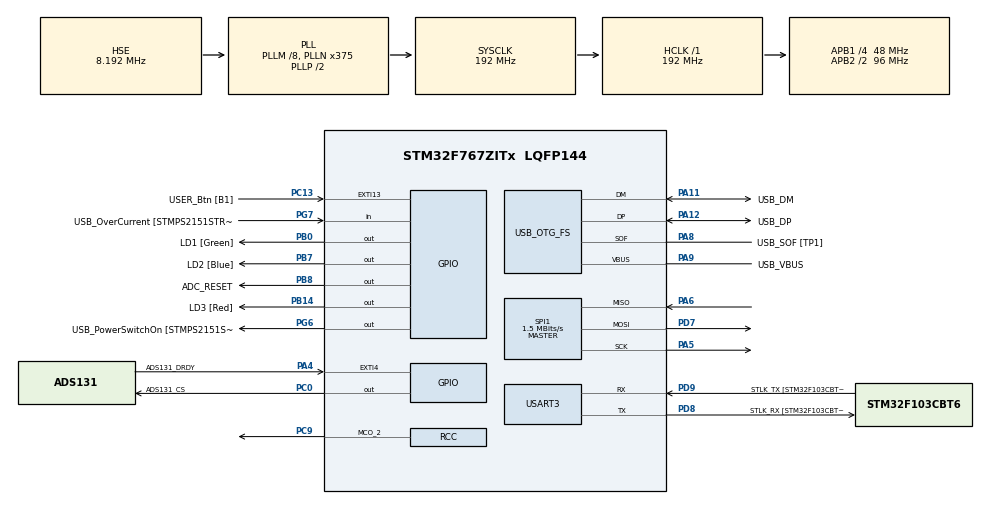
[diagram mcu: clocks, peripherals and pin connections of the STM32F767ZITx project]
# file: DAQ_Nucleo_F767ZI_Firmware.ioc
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CRC.OutputDataInversionMode=CRC_OUTPUTDATA_INVERSION_ENABLE
Dma.Request0=SPI1_RX
Dma.Request1=SPI1_TX
Dma.SPI1_RX.0.Direction=DMA_PERIPH_TO_MEMORY
Dma.SPI1_RX.0.FIFOMode=DMA_FIFOMODE_DISABLE
Dma.SPI1_RX.0.Instance=DMA2_Stream0
Dma.SPI1_RX.0.MemDataAlignment=DMA_MDATAALIGN_BYTE
Dma.SPI1_RX.0.MemInc=DMA_MINC_ENABLE
Dma.SPI1_RX.0.Mode=DMA_NORMAL
Dma.SPI1_RX.0.PeriphDataAlignment=DMA_PDATAALIGN_BYTE
Dma.SPI1_RX.0.PeriphInc=DMA_PINC_DISABLE
Dma.SPI1_RX.0.Priority=DMA_PRIORITY_VERY_HIGH
Dma.SPI1_TX.1.Direction=DMA_MEMORY_TO_PERIPH
Dma.SPI1_TX.1.FIFOMode=DMA_FIFOMODE_DISABLE
Dma.SPI1_TX.1.Instance=DMA2_Stream3
Dma.SPI1_TX.1.MemDataAlignment=DMA_MDATAALIGN_BYTE
Dma.SPI1_TX.1.MemInc=DMA_MINC_ENABLE
Dma.SPI1_TX.1.Mode=DMA_NORMAL
Dma.SPI1_TX.1.PeriphDataAlignment=DMA_PDATAALIGN_BYTE
Dma.SPI1_TX.1.PeriphInc=DMA_PINC_DISABLE
Dma.SPI1_TX.1.Priority=DMA_PRIORITY_LOW
FREERTOS.Events01=controlADCEvent,Dynamic,NULL
FREERTOS.Queues01=USBTXQueue,2,uint32_t,0,Dynamic,NULL,NULL;USBRXQueue,8,uint16_t,0,Dynamic,NULL,NULL
FREERTOS.Tasks01=defaultTask,24,256,StartDefaultTask,Default,NULL,Dynamic,NULL,NULL;usbRX,25,256,TASK_USB_RX,As external,NULL,Dynamic,NULL,NULL;usbBULKTXTASK,24,512,TASK_USB_BULK_TX,As external,NULL,Dynamic,NULL,NULL
FREERTOS.configENABLE_FPU=1
FREERTOS.configTOTAL_HEAP_SIZE=60000
FREERTOS.configUSE_NEWLIB_REENTRANT=1
Mcu.Family=STM32F7
Mcu.Name=STM32F767ZITx
Mcu.Package=LQFP144
NVIC.DMA2_Stream0_IRQn=true\:5\:0\:false\:false\:true\:true\:false\:true\:true
NVIC.DMA2_Stream3_IRQn=true\:5\:0\:false\:false\:true\:true\:false\:true\:true
NVIC.EXTI4_IRQn=true\:5\:0\:false\:false\:true\:true\:true\:true\:true
NVIC.OTG_FS_IRQn=true\:5\:0\:false\:false\:true\:true\:false\:true\:true
NVIC.PriorityGroup=NVIC_PRIORITYGROUP_4
NVIC.TIM1_UP_TIM10_IRQn=true\:15\:0\:false\:false\:true\:false\:false\:true\:true
NVIC.TimeBase=TIM1_UP_TIM10_IRQn
NVIC.TimeBaseIP=TIM1
PA1.GPIO_Label=RMII_REF_CLK [LAN8742A-CZ-TR_REFCLK0]
PA1.Signal=ETH_REF_CLK
PA10.GPIO_Label=USB_ID
PA10.Signal=USB_OTG_FS_ID
PA11.GPIO_Label=USB_DM
PA11.Mode=Device_Only
PA11.Signal=USB_OTG_FS_DM
PA12.GPIO_Label=USB_DP
PA12.Mode=Device_Only
PA12.Signal=USB_OTG_FS_DP
PA13.GPIO_Label=TMS
PA13.Mode=Serial_Wire
PA13.Signal=SYS_JTMS-SWDIO
PA14.GPIO_Label=TCK
PA14.Mode=Serial_Wire
PA14.Signal=SYS_JTCK-SWCLK
PA2.GPIO_Label=RMII_MDIO [LAN8742A-CZ-TR_MDIO]
PA2.Signal=ETH_MDIO
PA4.GPIO_Label=ADS131_DRDY
PA4.GPIO_ModeDefaultEXTI=GPIO_MODE_IT_FALLING
PA4.GPIO_PuPd=GPIO_PULLUP
PA4.Signal=GPXTI4
PA5.GPIO_PuPd=GPIO_PULLDOWN
PA5.Mode=Full_Duplex_Master
PA5.Signal=SPI1_SCK
PA6.GPIO_PuPd=GPIO_PULLUP
PA6.Mode=Full_Duplex_Master
PA6.Signal=SPI1_MISO
PA7.GPIO_Label=RMII_CRS_DV [LAN8742A-CZ-TR_CRS_DV]
PA7.Signal=ETH_CRS_DV
PA8.GPIO_Label=USB_SOF [TP1]
PA8.Mode=Activate_SOF_FS
PA8.Signal=USB_OTG_FS_SOF
PA9.GPIO_Label=USB_VBUS
PA9.Mode=Activate_VBUS
PA9.Signal=USB_OTG_FS_VBUS
PB0.GPIO_Label=LD1 [Green]
PB0.Signal=GPIO_Output
PB13.GPIO_Label=RMII_TXD1 [LAN8742A-CZ-TR_TXD1]
PB13.Signal=ETH_TXD1
PB14.GPIO_Label=LD3 [Red]
PB14.Signal=GPIO_Output
PB3.GPIO_Label=SWO
PB3.Signal=SYS_JTDO-SWO
PB7.GPIO_Label=LD2 [Blue]
PB7.Signal=GPIO_Output
PB8.GPIO_Label=ADC_RESET
PB8.GPIO_PuPd=GPIO_PULLUP
PB8.PinState=GPIO_PIN_RESET
PB8.Signal=GPIO_Output
PC0.GPIO_Label=ADS131_CS
PC0.GPIO_PuPd=GPIO_PULLUP
PC0.PinState=GPIO_PIN_SET
PC0.Signal=GPIO_Output
PC1.GPIO_Label=RMII_MDC [LAN8742A-CZ-TR_MDC]
PC1.Signal=ETH_MDC
PC13.GPIO_Label=USER_Btn [B1]
PC13.Signal=GPXTI13
PC14/OSC32_IN.Mode=LSE-External-Oscillator
PC14/OSC32_IN.Signal=RCC_OSC32_IN
PC15/OSC32_OUT.Mode=LSE-External-Oscillator
PC15/OSC32_OUT.Signal=RCC_OSC32_OUT
PC4.GPIO_Label=RMII_RXD0 [LAN8742A-CZ-TR_RXD0]
PC4.Signal=ETH_RXD0
PC5.GPIO_Label=RMII_RXD1 [LAN8742A-CZ-TR_RXD1]
PC5.Signal=ETH_RXD1
PC9.Mode=Clock-out-2
PC9.Signal=RCC_MCO_2
PD7.GPIO_PuPd=GPIO_PULLUP
PD7.Mode=Full_Duplex_Master
PD7.Signal=SPI1_MOSI
PD8.GPIO_Label=STLK_RX [STM32F103CBT6_PA3]
PD8.Mode=Asynchronous
PD8.Signal=USART3_TX
PD9.GPIO_Label=STLK_TX [STM32F103CBT6_PA2]
PD9.Mode=Asynchronous
PD9.Signal=USART3_RX
PG11.GPIO_Label=RMII_TX_EN [LAN8742A-CZ-TR_TXEN]
PG11.Signal=ETH_TX_EN
PG13.GPIO_Label=RMII_TXD0 [LAN8742A-CZ-TR_TXD0]
PG13.Signal=ETH_TXD0
PG6.GPIO_Label=USB_PowerSwitchOn [STMPS2151STR_EN]
PG6.Signal=GPIO_Output
PG7.GPIO_Label=USB_OverCurrent [STMPS2151STR_FAULT]
PG7.Signal=GPIO_Input
PH0/OSC_IN.GPIO_Label=MCO [STM32F103CBT6_PA8]
PH0/OSC_IN.Mode=HSE-External-Clock-Source
PH0/OSC_IN.Signal=RCC_OSC_IN
PH1/OSC_OUT.Mode=HSE-External-Clock-Source
PH1/OSC_OUT.Signal=RCC_OSC_OUT
ProjectManager.HeapSize=0x200
ProjectManager.StackSize=0x400
ProjectManager.TargetToolchain=STM32CubeIDE
RCC.48MHZClocksFreq_Value=24000000
RCC.AHBFreq_Value=192000000
RCC.APB1CLKDivider=RCC_HCLK_DIV4
RCC.APB1Freq_Value=48000000
RCC.APB1TimFreq_Value=96000000
RCC.APB2CLKDivider=RCC_HCLK_DIV2
RCC.APB2Freq_Value=96000000
RCC.APB2TimFreq_Value=192000000
RCC.CortexFreq_Value=192000000
RCC.HCLKFreq_Value=192000000
RCC.HSE_VALUE=8192000
RCC.HSI_VALUE=16000000
RCC.PLLM=8
RCC.PLLMUL=RCC_PLL_MUL9
RCC.PLLN=375
RCC.PLLQ=8
RCC.PRESCALERUSB=RCC_USBCLKSOURCE_PLL_DIV1_5
RCC.RCC_MCO2Source=RCC_MCO2SOURCE_HSE
RCC.SYSCLKFreq_VALUE=192000000
RCC.SYSCLKSource=RCC_SYSCLKSOURCE_PLLCLK
RCC.SYSCLKSourceVirtual=RCC_SYSCLKSOURCE_PLLCLK
RCC.USBFreq_Value=48000000
RCC.VCOOutputFreq_Value=384000000
SPI1.BaudRatePrescaler=SPI_BAUDRATEPRESCALER_64
SPI1.CLKPhase=SPI_PHASE_2EDGE
SPI1.CRCCalculation=SPI_CRCCALCULATION_DISABLE
SPI1.CalculateBaudRate=1.5 MBits/s
SPI1.DataSize=SPI_DATASIZE_8BIT
SPI1.Direction=SPI_DIRECTION_2LINES
SPI1.Mode=SPI_MODE_MASTER
SPI1.VirtualType=VM_MASTER
STMicroelectronics.X-CUBE-AZRTOS-F7.1.1.0_IsAnAzureRtosMw=true
USART3.VirtualMode-Asynchronous=VM_ASYNC
USB_DEVICE.CLASS_NAME_FS=CDC
USB_DEVICE.USBD_DEBUG_LEVEL-CDC_FS=0
USB_DEVICE.USBD_MAX_NUM_INTERFACES-CDC_FS=1
USB_DEVICE.USBD_MAX_STR_DESC_SIZ-CDC_FS=64
USB_DEVICE.VirtualMode-CDC_FS=Cdc
USB_DEVICE.VirtualModeFS=Cdc_FS
USB_OTG_FS.VirtualMode=Device_Only
USB_OTG_FS.lpm_enable=DISABLE
VP_CRC_VS_CRC.Mode=CRC_Activate
VP_FREERTOS_VS_CMSIS_V2.Mode=CMSIS_V2
VP_SYS_VS_tim1.Mode=TIM1
VP_USB_DEVICE_VS_USB_DEVICE_CDC_FS.Mode=CDC_FS
board=NUCLEO-F767ZI

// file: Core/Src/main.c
/* USER CODE BEGIN Header */
/**
  ******************************************************************************
  * @file           : main.c
  * @brief          : Main program body
  ******************************************************************************
  * @attention
  *
  * Copyright (c) 2025 STMicroelectronics.
  * All rights reserved.
  *
  * This software is licensed under terms that can be found in the LICENSE file
  * in the root directory of this software component.
  * If no LICENSE file comes with this software, it is provided AS-IS.
  *
  ******************************************************************************
  */
/* USER CODE END Header */
#include "main.h"
#include "cmsis_os.h"
#include "usb_device.h"

/* USER CODE BEGIN Includes */
#include "usbd_cdc_if.h"
#include "task_usbTX.h"
#include "ads131m04.h"
/* USER CODE END Includes */

CRC_HandleTypeDef hcrc;

SPI_HandleTypeDef hspi1;
DMA_HandleTypeDef hdma_spi1_rx;
DMA_HandleTypeDef hdma_spi1_tx;

UART_HandleTypeDef huart3;

/* Definitions for defaultTask */
osThreadId_t defaultTaskHandle;
const osThreadAttr_t defaultTask_attributes = {
  .name = "defaultTask",
  .stack_size = 256 * 4,
  .priority = (osPriority_t) osPriorityNormal,
};
/* Definitions for usbRX */
osThreadId_t usbRXHandle;
const osThreadAttr_t usbRX_attributes = {
  .name = "usbRX",
  .stack_size = 256 * 4,
  .priority = (osPriority_t) osPriorityNormal1,
};
/* Definitions for usbBULKTXTASK */
osThreadId_t usbBULKTXTASKHandle;
const osThreadAttr_t usbBULKTXTASK_attributes = {
  .name = "usbBULKTXTASK",
  .stack_size = 512 * 4,
  .priority = (osPriority_t) osPriorityNormal,
};
/* Definitions for USBTXQueue */
osMessageQueueId_t USBTXQueueHandle;
const osMessageQueueAttr_t USBTXQueue_attributes = {
  .name = "USBTXQueue"
};
/* Definitions for USBRXQueue */
osMessageQueueId_t USBRXQueueHandle;
const osMessageQueueAttr_t USBRXQueue_attributes = {
  .name = "USBRXQueue"
};
/* Definitions for controlADCEvent */
osEventFlagsId_t controlADCEventHandle;
const osEventFlagsAttr_t controlADCEvent_attributes = {
  .name = "controlADCEvent"
};
/* USER CODE BEGIN PV */
uint8_t ads131mo4_DMA_tx_buffer[20] = {0};
__attribute__((aligned(32))) uint8_t ads131mo4_DMA_rx_buffer[BUFFER_SIZE_BYTES];
volatile uint32_t rxBufferPointer = 0;
volatile uint32_t currentPacketCounter = 0;
/* USER CODE END PV */

void SystemClock_Config(void);
static void MX_GPIO_Init(void);
static void MX_DMA_Init(void);
static void MX_USART3_UART_Init(void);
static void MX_SPI1_Init(void);
static void MX_CRC_Init(void);
void StartDefaultTask(void *argument);
extern void TASK_USB_RX(void *argument);
extern void TASK_USB_BULK_TX(void *argument);

int main(void)
{

  /* MCU Configuration--------------------------------------------------------*/

  /* Reset of all peripherals, Initializes the Flash interface and the Systick. */
  HAL_Init();

  /* Configure the system clock */
  SystemClock_Config();

  /* Initialize all configured peripherals */
  MX_GPIO_Init();
  MX_DMA_Init();
  MX_USART3_UART_Init();
  MX_SPI1_Init();
  MX_CRC_Init();
  /* USER CODE BEGIN 2 */
  // Disable ADC interrupts initially
  HAL_NVIC_DisableIRQ(EXTI4_IRQn);
  ads131m04_reset_ADC();
  ads131m04_init();
  /* USER CODE END 2 */

  /* Init scheduler */
  osKernelInitialize();

  /* Create the queue(s) */
  /* creation of USBTXQueue */
  USBTXQueueHandle = osMessageQueueNew (2, sizeof(uint32_t), &USBTXQueue_attributes);

  /* creation of USBRXQueue */
  USBRXQueueHandle = osMessageQueueNew (8, sizeof(uint16_t), &USBRXQueue_attributes);

  /* Create the thread(s) */
  /* creation of defaultTask */
  defaultTaskHandle = osThreadNew(StartDefaultTask, NULL, &defaultTask_attributes);

  /* creation of usbRX */
  usbRXHandle = osThreadNew(TASK_USB_RX, NULL, &usbRX_attributes);

  /* creation of usbBULKTXTASK */
  usbBULKTXTASKHandle = osThreadNew(TASK_USB_BULK_TX, NULL, &usbBULKTXTASK_attributes);

  /* Create the event(s) */
  /* creation of controlADCEvent */
  controlADCEventHandle = osEventFlagsNew(&controlADCEvent_attributes);

  /* Start scheduler */
  osKernelStart();

  /* We should never get here as control is now taken by the scheduler */

  /* Infinite loop */
  while (1)
  {

  }
}

void SystemClock_Config(void)
{
  RCC_OscInitTypeDef RCC_OscInitStruct = {0};
  RCC_ClkInitTypeDef RCC_ClkInitStruct = {0};

  /** Configure LSE Drive Capability
  */
  HAL_PWR_EnableBkUpAccess();

  /** Configure the main internal regulator output voltage
  */
  __HAL_RCC_PWR_CLK_ENABLE();
  __HAL_PWR_VOLTAGESCALING_CONFIG(PWR_REGULATOR_VOLTAGE_SCALE1);

  /** Initializes the RCC Oscillators according to the specified parameters
  * in the RCC_OscInitTypeDef structure.
  */
  RCC_OscInitStruct.OscillatorType = RCC_OSCILLATORTYPE_HSE;
  RCC_OscInitStruct.HSEState = RCC_HSE_BYPASS;
  RCC_OscInitStruct.PLL.PLLState = RCC_PLL_ON;
  RCC_OscInitStruct.PLL.PLLSource = RCC_PLLSOURCE_HSE;
  RCC_OscInitStruct.PLL.PLLM = 8;
  RCC_OscInitStruct.PLL.PLLN = 375;
  RCC_OscInitStruct.PLL.PLLP = RCC_PLLP_DIV2;
  RCC_OscInitStruct.PLL.PLLQ = 8;
  RCC_OscInitStruct.PLL.PLLR = 2;
  if (HAL_RCC_OscConfig(&RCC_OscInitStruct) != HAL_OK)
  {
    Error_Handler();
  }

  /** Activate the Over-Drive mode
  */
  if (HAL_PWREx_EnableOverDrive() != HAL_OK)
  {
    Error_Handler();
  }

  /** Initializes the CPU, AHB and APB buses clocks
  */
  RCC_ClkInitStruct.ClockType = RCC_CLOCKTYPE_HCLK|RCC_CLOCKTYPE_SYSCLK
                              |RCC_CLOCKTYPE_PCLK1|RCC_CLOCKTYPE_PCLK2;
  RCC_ClkInitStruct.SYSCLKSource = RCC_SYSCLKSOURCE_PLLCLK;
  RCC_ClkInitStruct.AHBCLKDivider = RCC_SYSCLK_DIV1;
  RCC_ClkInitStruct.APB1CLKDivider = RCC_HCLK_DIV4;
  RCC_ClkInitStruct.APB2CLKDivider = RCC_HCLK_DIV2;

  if (HAL_RCC_ClockConfig(&RCC_ClkInitStruct, FLASH_LATENCY_6) != HAL_OK)
  {
    Error_Handler();
  }
  HAL_RCC_MCOConfig(RCC_MCO2, RCC_MCO2SOURCE_HSE, RCC_MCODIV_1);
}

static void MX_CRC_Init(void)
{

  hcrc.Instance = CRC;
  hcrc.Init.DefaultPolynomialUse = DEFAULT_POLYNOMIAL_ENABLE;
  hcrc.Init.DefaultInitValueUse = DEFAULT_INIT_VALUE_ENABLE;
  hcrc.Init.InputDataInversionMode = CRC_INPUTDATA_INVERSION_NONE;
  hcrc.Init.OutputDataInversionMode = CRC_OUTPUTDATA_INVERSION_ENABLE;
  hcrc.InputDataFormat = CRC_INPUTDATA_FORMAT_BYTES;
  if (HAL_CRC_Init(&hcrc) != HAL_OK)
  {
    Error_Handler();
  }

}

static void MX_SPI1_Init(void)
{

  /* SPI1 parameter configuration*/
  hspi1.Instance = SPI1;
  hspi1.Init.Mode = SPI_MODE_MASTER;
  hspi1.Init.Direction = SPI_DIRECTION_2LINES;
  hspi1.Init.DataSize = SPI_DATASIZE_8BIT;
  hspi1.Init.CLKPolarity = SPI_POLARITY_LOW;
  hspi1.Init.CLKPhase = SPI_PHASE_2EDGE;
  hspi1.Init.NSS = SPI_NSS_SOFT;
  hspi1.Init.BaudRatePrescaler = SPI_BAUDRATEPRESCALER_64;
  hspi1.Init.FirstBit = SPI_FIRSTBIT_MSB;
  hspi1.Init.TIMode = SPI_TIMODE_DISABLE;
  hspi1.Init.CRCCalculation = SPI_CRCCALCULATION_DISABLE;
  hspi1.Init.CRCPolynomial = 7;
  hspi1.Init.CRCLength = SPI_CRC_LENGTH_DATASIZE;
  hspi1.Init.NSSPMode = SPI_NSS_PULSE_DISABLE;
  if (HAL_SPI_Init(&hspi1) != HAL_OK)
  {
    Error_Handler();
  }

}

static void MX_USART3_UART_Init(void)
{

  huart3.Instance = USART3;
  huart3.Init.BaudRate = 115200;
  huart3.Init.WordLength = UART_WORDLENGTH_8B;
  huart3.Init.StopBits = UART_STOPBITS_1;
  huart3.Init.Parity = UART_PARITY_NONE;
  huart3.Init.Mode = UART_MODE_TX_RX;
  huart3.Init.HwFlowCtl = UART_HWCONTROL_NONE;
  huart3.Init.OverSampling = UART_OVERSAMPLING_16;
  huart3.Init.OneBitSampling = UART_ONE_BIT_SAMPLE_DISABLE;
  huart3.AdvancedInit.AdvFeatureInit = UART_ADVFEATURE_NO_INIT;
  if (HAL_UART_Init(&huart3) != HAL_OK)
  {
    Error_Handler();
  }

}

static void MX_DMA_Init(void)
{

  /* DMA controller clock enable */
  __HAL_RCC_DMA2_CLK_ENABLE();

  /* DMA interrupt init */
  /* DMA2_Stream0_IRQn interrupt configuration */
  HAL_NVIC_SetPriority(DMA2_Stream0_IRQn, 5, 0);
  HAL_NVIC_EnableIRQ(DMA2_Stream0_IRQn);
  /* DMA2_Stream3_IRQn interrupt configuration */
  HAL_NVIC_SetPriority(DMA2_Stream3_IRQn, 5, 0);
  HAL_NVIC_EnableIRQ(DMA2_Stream3_IRQn);

}

static void MX_GPIO_Init(void)
{
  GPIO_InitTypeDef GPIO_InitStruct = {0};

  /* GPIO Ports Clock Enable */
  __HAL_RCC_GPIOC_CLK_ENABLE();
  __HAL_RCC_GPIOH_CLK_ENABLE();
  __HAL_RCC_GPIOA_CLK_ENABLE();
  __HAL_RCC_GPIOB_CLK_ENABLE();
  __HAL_RCC_GPIOD_CLK_ENABLE();
  __HAL_RCC_GPIOG_CLK_ENABLE();

  /*Configure GPIO pin Output Level */
  HAL_GPIO_WritePin(ADS131_CS_GPIO_Port, ADS131_CS_Pin, GPIO_PIN_SET);

  /*Configure GPIO pin Output Level */
  HAL_GPIO_WritePin(GPIOB, LD1_Pin|LD3_Pin|LD2_Pin|ADC_RESET_Pin, GPIO_PIN_RESET);

  /*Configure GPIO pin Output Level */
  HAL_GPIO_WritePin(USB_PowerSwitchOn_GPIO_Port, USB_PowerSwitchOn_Pin, GPIO_PIN_RESET);

  /*Configure GPIO pin : USER_Btn_Pin */
  GPIO_InitStruct.Pin = USER_Btn_Pin;
  GPIO_InitStruct.Mode = GPIO_MODE_IT_RISING;
  GPIO_InitStruct.Pull = GPIO_NOPULL;
  HAL_GPIO_Init(USER_Btn_GPIO_Port, &GPIO_InitStruct);

  /*Configure GPIO pin : ADS131_CS_Pin */
  GPIO_InitStruct.Pin = ADS131_CS_Pin;
  GPIO_InitStruct.Mode = GPIO_MODE_OUTPUT_PP;
  GPIO_InitStruct.Pull = GPIO_PULLUP;
  GPIO_InitStruct.Speed = GPIO_SPEED_FREQ_LOW;
  HAL_GPIO_Init(ADS131_CS_GPIO_Port, &GPIO_InitStruct);

  /*Configure GPIO pins : RMII_MDC_Pin RMII_RXD0_Pin RMII_RXD1_Pin */
  GPIO_InitStruct.Pin = RMII_MDC_Pin|RMII_RXD0_Pin|RMII_RXD1_Pin;
  GPIO_InitStruct.Mode = GPIO_MODE_AF_PP;
  GPIO_InitStruct.Pull = GPIO_NOPULL;
  GPIO_InitStruct.Speed = GPIO_SPEED_FREQ_VERY_HIGH;
  GPIO_InitStruct.Alternate = GPIO_AF11_ETH;
  HAL_GPIO_Init(GPIOC, &GPIO_InitStruct);

  /*Configure GPIO pins : RMII_REF_CLK_Pin RMII_MDIO_Pin RMII_CRS_DV_Pin */
  GPIO_InitStruct.Pin = RMII_REF_CLK_Pin|RMII_MDIO_Pin|RMII_CRS_DV_Pin;
  GPIO_InitStruct.Mode = GPIO_MODE_AF_PP;
  GPIO_InitStruct.Pull = GPIO_NOPULL;
  GPIO_InitStruct.Speed = GPIO_SPEED_FREQ_VERY_HIGH;
  GPIO_InitStruct.Alternate = GPIO_AF11_ETH;
  HAL_GPIO_Init(GPIOA, &GPIO_InitStruct);

  /*Configure GPIO pin : ADS131_DRDY_Pin */
  GPIO_InitStruct.Pin = ADS131_DRDY_Pin;
  GPIO_InitStruct.Mode = GPIO_MODE_IT_FALLING;
  GPIO_InitStruct.Pull = GPIO_PULLUP;
  HAL_GPIO_Init(ADS131_DRDY_GPIO_Port, &GPIO_InitStruct);

  /*Configure GPIO pins : LD1_Pin LD3_Pin LD2_Pin */
  GPIO_InitStruct.Pin = LD1_Pin|LD3_Pin|LD2_Pin;
  GPIO_InitStruct.Mode = GPIO_MODE_OUTPUT_PP;
  GPIO_InitStruct.Pull = GPIO_NOPULL;
  GPIO_InitStruct.Speed = GPIO_SPEED_FREQ_LOW;
  HAL_GPIO_Init(GPIOB, &GPIO_InitStruct);

  /*Configure GPIO pin : RMII_TXD1_Pin */
  GPIO_InitStruct.Pin = RMII_TXD1_Pin;
  GPIO_InitStruct.Mode = GPIO_MODE_AF_PP;
  GPIO_InitStruct.Pull = GPIO_NOPULL;
  GPIO_InitStruct.Speed = GPIO_SPEED_FREQ_VERY_HIGH;
  GPIO_InitStruct.Alternate = GPIO_AF11_ETH;
  HAL_GPIO_Init(RMII_TXD1_GPIO_Port, &GPIO_InitStruct);

  /*Configure GPIO pin : USB_PowerSwitchOn_Pin */
  GPIO_InitStruct.Pin = USB_PowerSwitchOn_Pin;
  GPIO_InitStruct.Mode = GPIO_MODE_OUTPUT_PP;
  GPIO_InitStruct.Pull = GPIO_NOPULL;
  GPIO_InitStruct.Speed = GPIO_SPEED_FREQ_LOW;
  HAL_GPIO_Init(USB_PowerSwitchOn_GPIO_Port, &GPIO_InitStruct);

  /*Configure GPIO pin : USB_OverCurrent_Pin */
  GPIO_InitStruct.Pin = USB_OverCurrent_Pin;
  GPIO_InitStruct.Mode = GPIO_MODE_INPUT;
  GPIO_InitStruct.Pull = GPIO_NOPULL;
  HAL_GPIO_Init(USB_OverCurrent_GPIO_Port, &GPIO_InitStruct);

  /*Configure GPIO pin : PC9 */
  GPIO_InitStruct.Pin = GPIO_PIN_9;
  GPIO_InitStruct.Mode = GPIO_MODE_AF_PP;
  GPIO_InitStruct.Pull = GPIO_NOPULL;
  GPIO_InitStruct.Speed = GPIO_SPEED_FREQ_LOW;
  GPIO_InitStruct.Alternate = GPIO_AF0_MCO;
  HAL_GPIO_Init(GPIOC, &GPIO_InitStruct);

  /*Configure GPIO pins : RMII_TX_EN_Pin RMII_TXD0_Pin */
  GPIO_InitStruct.Pin = RMII_TX_EN_Pin|RMII_TXD0_Pin;
  GPIO_InitStruct.Mode = GPIO_MODE_AF_PP;
  GPIO_InitStruct.Pull = GPIO_NOPULL;
  GPIO_InitStruct.Speed = GPIO_SPEED_FREQ_VERY_HIGH;
  GPIO_InitStruct.Alternate = GPIO_AF11_ETH;
  HAL_GPIO_Init(GPIOG, &GPIO_InitStruct);

  /*Configure GPIO pin : ADC_RESET_Pin */
  GPIO_InitStruct.Pin = ADC_RESET_Pin;
  GPIO_InitStruct.Mode = GPIO_MODE_OUTPUT_PP;
  GPIO_InitStruct.Pull = GPIO_PULLUP;
  GPIO_InitStruct.Speed = GPIO_SPEED_FREQ_LOW;
  HAL_GPIO_Init(ADC_RESET_GPIO_Port, &GPIO_InitStruct);

  /* EXTI interrupt init*/
  HAL_NVIC_SetPriority(EXTI4_IRQn, 5, 0);
  HAL_NVIC_EnableIRQ(EXTI4_IRQn);

}

/* USER CODE BEGIN 4 */

void HAL_GPIO_EXTI_Callback(uint16_t GPIO_Pin){
    if(GPIO_Pin == ADS131_DRDY_Pin){
        ads131m04_IT_fetch_data();
    }
}

void HAL_SPI_TxRxCpltCallback (SPI_HandleTypeDef * hspi){
	if(hspi == &hspi1){
		ads131m04_IT_DMA_Finished();
	}
	else{
		__NOP();
	}
}
/* USER CODE END 4 */

void StartDefaultTask(void *argument)
{
  /* init code for USB_DEVICE */
  MX_USB_DEVICE_Init();
  for(;;)
  {
    osDelay(1);
  }
}

void HAL_TIM_PeriodElapsedCallback(TIM_HandleTypeDef *htim)
{
  if (htim->Instance == TIM1)
  {
    HAL_IncTick();
  }
}

void Error_Handler(void)
{
  __disable_irq();
  while (1)
  {
  }
}
